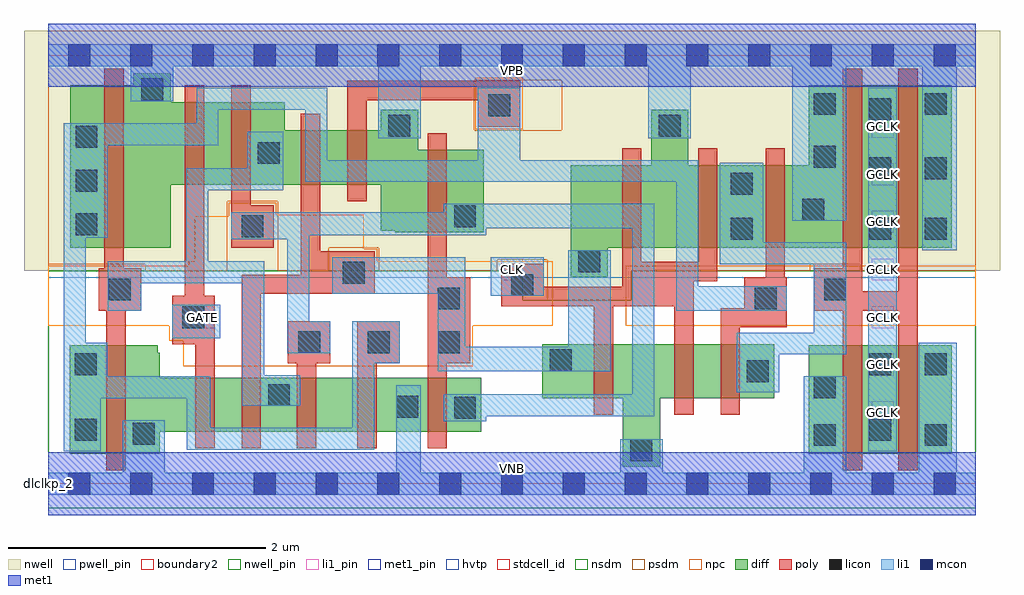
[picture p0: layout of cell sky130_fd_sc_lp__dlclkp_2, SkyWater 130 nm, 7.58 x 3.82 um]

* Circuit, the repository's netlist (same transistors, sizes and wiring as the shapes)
* Copyright 2020 The SkyWater PDK Authors
*
* Licensed under the Apache License, Version 2.0 (the "License");
* you may not use this file except in compliance with the License.
* You may obtain a copy of the License at
*
*     https://www.apache.org/licenses/LICENSE-2.0
*
* Unless required by applicable law or agreed to in writing, software
* distributed under the License is distributed on an "AS IS" BASIS,
* WITHOUT WARRANTIES OR CONDITIONS OF ANY KIND, either express or implied.
* See the License for the specific language governing permissions and
* limitations under the License.
*
* SPDX-License-Identifier: Apache-2.0

.SUBCKT sky130_fd_sc_lp__dlclkp_2 CLK GATE VGND VNB VPB VPWR GCLK
*.PININFO CLK:I GATE:I VGND:I VNB:I VPB:I VPWR:I GCLK:O
MI662 net75 m1 VPWR VPB sky130_fd_pr__pfet_01v8_hvt m=1 w=0.42U l=0.15U mult=1
+ sa=0.265 sb=0.265 sd=0.28 area=0.063 perim=1.14
MI664 M0 clkpos net75 VPB sky130_fd_pr__pfet_01v8_hvt m=1 w=0.42U l=0.15U mult=1
+ sa=0.265 sb=0.265 sd=0.28 area=0.063 perim=1.14
MI659 net63 CLK VPWR VPB sky130_fd_pr__pfet_01v8_hvt m=1 w=0.64U l=0.15U mult=1
+ sa=0.265 sb=0.265 sd=0.28 area=0.063 perim=1.14
MI658 net63 m1 VPWR VPB sky130_fd_pr__pfet_01v8_hvt m=1 w=0.64U l=0.15U mult=1
+ sa=0.265 sb=0.265 sd=0.28 area=0.063 perim=1.14
MI19 m1 M0 VPWR VPB sky130_fd_pr__pfet_01v8_hvt m=1 w=1.26U l=0.15U mult=1 sa=0.265
+ sb=0.265 sd=0.28 area=0.063 perim=1.14
MI38 M0 clkneg net54 VPB sky130_fd_pr__pfet_01v8_hvt m=1 w=0.64U l=0.15U mult=1
+ sa=0.265 sb=0.265 sd=0.28 area=0.063 perim=1.14
MI37 net54 GATE VPWR VPB sky130_fd_pr__pfet_01v8_hvt m=1 w=0.64U l=0.15U mult=1
+ sa=0.265 sb=0.265 sd=0.28 area=0.063 perim=1.14
MI47 clkneg clkpos VPWR VPB sky130_fd_pr__pfet_01v8_hvt m=1 w=0.64U l=0.15U mult=1
+ sa=0.265 sb=0.265 sd=0.28 area=0.063 perim=1.14
MI45 clkpos CLK VPWR VPB sky130_fd_pr__pfet_01v8_hvt m=1 w=0.64U l=0.15U mult=1
+ sa=0.265 sb=0.265 sd=0.28 area=0.063 perim=1.14
MI660 GCLK net63 VPWR VPB sky130_fd_pr__pfet_01v8_hvt m=2 w=1.26U l=0.15U mult=1
+ sa=0.265 sb=0.265 sd=0.28 area=0.063 perim=1.14
MI20 m1 M0 VGND VNB sky130_fd_pr__nfet_01v8 m=1 w=0.84U l=0.15U mult=1 sa=0.265
+ sb=0.265 sd=0.28 area=0.063 perim=1.14
MI655 M0 clkneg net110 VNB sky130_fd_pr__nfet_01v8 m=1 w=0.42U l=0.15U mult=1 sa=0.265
+ sb=0.265 sd=0.28 area=0.063 perim=1.14
MI654 net110 m1 VGND VNB sky130_fd_pr__nfet_01v8 m=1 w=0.42U l=0.15U mult=1 sa=0.265
+ sb=0.265 sd=0.28 area=0.063 perim=1.14
MI34 M0 clkpos net91 VNB sky130_fd_pr__nfet_01v8 m=1 w=0.42U l=0.15U mult=1 sa=0.265
+ sb=0.265 sd=0.28 area=0.063 perim=1.14
MI657 net99 CLK VGND VNB sky130_fd_pr__nfet_01v8 m=1 w=0.42U l=0.15U mult=1 sa=0.265
+ sb=0.265 sd=0.28 area=0.063 perim=1.14
MI656 net63 m1 net99 VNB sky130_fd_pr__nfet_01v8 m=1 w=0.42U l=0.15U mult=1 sa=0.265
+ sb=0.265 sd=0.28 area=0.063 perim=1.14
MI36 net91 GATE VGND VNB sky130_fd_pr__nfet_01v8 m=1 w=0.42U l=0.15U mult=1 sa=0.265
+ sb=0.265 sd=0.28 area=0.063 perim=1.14
MI46 clkneg clkpos VGND VNB sky130_fd_pr__nfet_01v8 m=1 w=0.42U l=0.15U mult=1
+ sa=0.265 sb=0.265 sd=0.28 area=0.063 perim=1.14
MI44 clkpos CLK VGND VNB sky130_fd_pr__nfet_01v8 m=1 w=0.42U l=0.15U mult=1 sa=0.265
+ sb=0.265 sd=0.28 area=0.063 perim=1.14
MI653 GCLK net63 VGND VNB sky130_fd_pr__nfet_01v8 m=2 w=0.84U l=0.15U mult=1 sa=0.265
+ sb=0.265 sd=0.28 area=0.063 perim=1.14
.ENDS sky130_fd_sc_lp__dlclkp_2

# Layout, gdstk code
import gdstk
lib = gdstk.Library(unit=1e-6, precision=1e-09)
def R(c, l, rs):  # rectangles x0, y0, x1, y1
    for r in rs: c.add(gdstk.rectangle(r[:2], r[2:], *l))
def A(c, l, x, y, w, h, nx, ny, dx, dy):  # array of equal rectangles
    R(c, l, [(x+i*dx, y+j*dy, x+i*dx+w, y+j*dy+h) for i in range(nx) for j in range(ny)])
def P(c, l, *ps):  # polygons
    for p in ps: c.add(gdstk.Polygon(p, *l))
nwell_pin = (64, 16)
nwell = (64, 20)
diff = (65, 20)
poly = (66, 20)
licon = (66, 44)
li1_pin = (67, 16)
li1 = (67, 20)
mcon = (67, 44)
met1_pin = (68, 16)
met1 = (68, 20)
hvtp = (78, 44)
stdcell_id = (81, 4)
nsdm = (93, 44)
psdm = (94, 20)
npc = (95, 20)
pwell_pin = (122, 16)
boundary2 = (236, 0)

sky130_fd_sc_lp__dlclkp_ = lib.new_cell('sky130_fd_sc_lp__dlclkp_2')
R(sky130_fd_sc_lp__dlclkp_, nwell_pin, [(0,3.085,7.2,3.33)])
P(sky130_fd_sc_lp__dlclkp_, nwell, [(7.39,3.52),(-0.19,3.52),(-0.19,1.655),(3.685,1.655),(3.685,1.425),(4.525,1.425),(4.525,1.655),(7.39,1.655)])
R(sky130_fd_sc_lp__dlclkp_, diff, [(5.905,0.235,7.015,1.075)])
P(sky130_fd_sc_lp__dlclkp_, diff, [(3.36,0.825),(0.865,0.825),(0.865,1.02),(0.85,1.02),(0.85,1.075),(0.165,1.075),(0.165,0.235),(0.865,0.235),(0.865,0.405),(3.36,0.405)],
  [(3.38,2.595),(2.87,2.595),(2.87,2.905),(2.58,2.905),(2.58,2.745),(1.835,2.745),(1.835,2.965),(0.95,2.965),(0.95,3.19),(0.66,3.19),(0.66,3.095),(0.17,3.095),(0.17,1.835),(0.95,1.835),(0.95,2.325),(2.58,2.325),(2.58,1.965),(2.695,1.965),(2.695,1.955),(3.38,1.955)],
  [(5.635,1.085),(3.835,1.085),(3.835,0.665),(4.46,0.665),(4.46,0.135),(4.75,0.135),(4.75,0.665),(5.635,0.665)],
  [(7.015,3.095),(5.905,3.095),(5.905,2.475),(4.97,2.475),(4.97,2.905),(4.68,2.905),(4.68,2.475),(4.055,2.475),(4.055,1.605),(4.345,1.605),(4.345,1.835),(7.015,1.835)])
P(sky130_fd_sc_lp__dlclkp_, poly, [(0.72,1.675),(0.585,1.675),(0.585,3.225),(0.435,3.225),(0.435,1.675),(0.39,1.675),(0.39,1.345),(0.45,1.345),(0.45,0.105),(0.6,0.105),(0.6,1.345),(0.72,1.345)],
  [(1.29,1.46),(1.21,1.46),(1.21,3.095),(1.06,3.095),(1.06,1.46),(0.96,1.46),(0.96,1.085),(1.14,1.085),(1.14,0.275),(1.29,0.275)],
  [(1.75,2.165),(1.57,2.165),(1.57,3.095),(1.42,3.095),(1.42,1.835),(1.75,1.835)],
  [(2.19,1.265),(1.86,1.265),(1.86,0.935),(1.93,0.935),(1.93,0.275),(2.08,0.275),(2.08,0.935),(2.19,0.935)],
  [(2.535,1.805),(2.11,1.805),(2.11,2.875),(1.96,2.875),(1.96,1.625),(1.5,1.625),(1.5,0.275),(1.65,0.275),(1.65,1.475),(2.535,1.475)],
  [(2.73,1.265),(2.4,1.265),(2.4,0.275),(2.55,0.275),(2.55,0.935),(2.73,0.935)],
  [(3.275,1.605),(3.095,1.605),(3.095,2.725),(2.945,2.725),(2.945,0.275),(3.095,0.275),(3.095,0.935),(3.275,0.935)],
  [(3.665,3.13),(2.32,3.13),(2.32,2.195),(2.47,2.195),(2.47,2.98),(3.335,2.98),(3.335,2.775),(3.665,2.775)],
  [(5.195,2.605),(5.045,2.605),(5.045,1.725),(4.605,1.725),(4.605,2.605),(4.455,2.605),(4.455,1.53),(3.845,1.53),(3.845,1.71),(3.515,1.71),(3.515,1.38),(4.235,1.38),(4.235,0.535),(4.385,0.535),(4.385,1.38),(4.86,1.38),(4.86,0.535),(5.01,0.535),(5.01,1.575),(5.195,1.575)],
  [(5.735,1.605),(5.72,1.605),(5.72,2.605),(5.57,2.605),(5.57,1.605),(5.405,1.605),(5.405,1.365),(5.22,1.365),(5.22,0.535),(5.37,0.535),(5.37,1.215),(5.735,1.215)],
  [(6.75,3.225),(6.6,3.225),(6.6,1.495),(6.32,1.495),(6.32,3.225),(6.17,3.225),(6.17,1.675),(5.945,1.675),(5.945,1.345),(6.17,1.345),(6.17,0.105),(6.32,0.105),(6.32,1.345),(6.6,1.345),(6.6,0.105),(6.75,0.105)])
A(sky130_fd_sc_lp__dlclkp_, licon, 0.21, 1.93, 0.17, 0.17, 1, 3, 0, 0.34)
R(sky130_fd_sc_lp__dlclkp_, licon, [(4.52,0.175,4.69,0.345), (5.945,0.295,6.115,0.465), (6.805,0.295,6.975,0.465), (0.655,0.305,0.825,0.475), (0.205,0.335,0.375,0.505), (6.375,0.335,6.545,0.505), (3.15,0.505,3.32,0.675), (2.7,0.515,2.87,0.685), (1.705,0.605,1.875,0.775), (5.945,0.665,6.115,0.835), (5.425,0.79,5.595,0.96), (0.205,0.845,0.375,1.015), (6.375,0.845,6.545,1.015), (6.805,0.845,6.975,1.015), (3.895,0.875,4.065,1.045), (1.94,1.015,2.11,1.185), (2.48,1.015,2.65,1.185), (3.025,1.015,3.195,1.185), (1.04,1.21,1.21,1.38), (3.025,1.355,3.195,1.525), (5.485,1.355,5.655,1.525), (0.47,1.425,0.64,1.595), (6.025,1.425,6.195,1.595), (3.595,1.46,3.765,1.63), (2.285,1.555,2.455,1.725), (4.115,1.645,4.285,1.815), (5.3,1.895,5.47,2.065), (6.375,1.895,6.545,2.065), (6.805,1.895,6.975,2.065), (1.5,1.915,1.67,2.085), (3.15,1.995,3.32,2.165), (5.855,2.045,6.025,2.215), (5.3,2.245,5.47,2.415), (6.375,2.365,6.545,2.535), (6.805,2.365,6.975,2.535), (5.945,2.455,6.115,2.625), (1.625,2.485,1.795,2.655), (2.64,2.695,2.81,2.865), (4.74,2.695,4.91,2.865), (6.375,2.825,6.545,2.995), (3.415,2.855,3.585,3.025), (5.945,2.865,6.115,3.035), (6.805,2.865,6.975,3.035), (0.72,2.98,0.89,3.15)])
A(sky130_fd_sc_lp__dlclkp_, li1_pin, 6.395, 0.47, 0.17, 0.17, 1, 7, 0, 0.37)
R(sky130_fd_sc_lp__dlclkp_, li1_pin, [(1.115,1.21,1.285,1.38), (3.515,1.58,3.685,1.75)])
R(sky130_fd_sc_lp__dlclkp_, li1, [(6.365,0.255,6.59,3.075), (0.96,1.13,1.335,1.39), (3.435,1.46,3.845,1.76)])
P(sky130_fd_sc_lp__dlclkp_, li1, [(1.855,1.9),(1.42,1.9),(1.42,2.11),(3.07,2.11),(3.07,2.175),(4.705,2.175),(4.705,0.525),(3.4,0.525),(3.4,0.485),(3.07,0.485),(3.07,0.695),(4.535,0.695),(4.535,1.985),(3.4,1.985),(3.4,1.93),(2.025,1.93),(2.025,1.265),(2.19,1.265),(2.19,1.015),(1.855,1.015)],
  [(3.335,2.515),(3.335,3.075),(3.665,3.075),(3.665,2.515),(5.045,2.515),(5.045,1.535),(5.735,1.535),(5.735,1.345),(4.875,1.345),(4.875,2.345),(1.995,2.345),(1.995,2.905),(1.32,2.905),(1.32,2.63),(0.46,2.63),(0.46,1.91),(0.29,1.91),(0.29,1.095),(0.455,1.095),(0.455,0.835),(1.255,0.835),(1.255,0.435),(2.36,0.435),(2.36,1.265),(2.73,1.265),(2.73,0.935),(2.53,0.935),(2.53,0.265),(1.075,0.265),(1.075,0.665),(0.405,0.665),(0.405,0.255),(0.12,0.255),(0.12,2.8),(1.15,2.8),(1.15,3.075),(2.165,3.075),(2.165,2.515)],
  [(2.56,2.685),(2.56,3.245),(0.97,3.245),(0.97,2.97),(0.64,2.97),(0.64,3.245),(0,3.245),(0,3.415),(7.2,3.415),(7.2,3.245),(7.055,3.245),(7.055,1.815),(6.785,1.815),(6.785,3.245),(6.195,3.245),(6.195,2.045),(5.775,2.045),(5.775,3.245),(4.99,3.245),(4.99,2.685),(4.66,2.685),(4.66,3.245),(2.89,3.245),(2.89,2.685)],
  [(4.44,0.085),(4.44,0.345),(4.77,0.345),(4.77,0.085),(5.865,0.085),(5.865,0.835),(6.195,0.835),(6.195,0.085),(6.76,0.085),(6.76,1.095),(7.055,1.095),(7.055,0.085),(7.2,0.085),(7.2,-0.085),(0,-0.085),(0,0.085),(0.575,0.085),(0.575,0.495),(0.905,0.495),(0.905,0.085),(2.7,0.085),(2.7,0.765),(2.89,0.765),(2.89,0.085)],
  [(5.55,1.875),(6.195,1.875),(6.195,1.005),(5.675,1.005),(5.675,0.71),(5.345,0.71),(5.345,1.175),(5.945,1.175),(5.945,1.705),(5.215,1.705),(5.215,2.495),(5.55,2.495)],
  [(4.035,1.065),(4.035,1.815),(4.365,1.815),(4.365,0.875),(3.025,0.875),(3.025,1.475),(2.205,1.475),(2.205,1.76),(3.235,1.76),(3.235,1.065)],
  [(1.07,2.45),(1.545,2.45),(1.545,2.735),(1.825,2.735),(1.825,2.28),(1.24,2.28),(1.24,1.73),(1.675,1.73),(1.675,0.845),(1.955,0.845),(1.955,0.605),(1.505,0.605),(1.505,1.56),(0.72,1.56),(0.72,1.345),(0.46,1.345),(0.46,1.73),(1.07,1.73)])
A(sky130_fd_sc_lp__dlclkp_, mcon, 0.155, -0.085, 0.17, 0.17, 15, 2, 0.48, 3.33)
R(sky130_fd_sc_lp__dlclkp_, met1_pin, [(0,0,7.2,0.245), (0,3.085,7.2,3.33)])
R(sky130_fd_sc_lp__dlclkp_, met1, [(0,-0.245,7.2,0.245), (0,3.085,7.2,3.575)])
R(sky130_fd_sc_lp__dlclkp_, hvtp, [(0,1.6,7.2,3.33)])
R(sky130_fd_sc_lp__dlclkp_, stdcell_id, [(0,0,7.2,3.33)])
P(sky130_fd_sc_lp__dlclkp_, nsdm, [(7.2,1.655),(4.525,1.655),(4.525,1.425),(3.685,1.425),(3.685,1.655),(0,1.655),(0,-0.19),(7.2,-0.19)])
P(sky130_fd_sc_lp__dlclkp_, psdm, [(7.2,3.52),(3.985,3.52),(3.985,2.745),(3.305,2.745),(3.305,3.135),(3.985,3.135),(3.985,3.52),(0,3.52),(0,1.705),(0.75,1.705),(0.75,1.655),(1.39,1.655),(1.39,2.195),(1.78,2.195),(1.78,1.655),(2.175,1.655),(2.175,1.835),(2.565,1.835),(2.565,1.655),(3.485,1.655),(3.485,1.74),(3.875,1.74),(3.875,1.425),(4.525,1.425),(4.525,1.655),(5.915,1.655),(5.915,1.705),(6.305,1.705),(6.305,1.655),(7.2,1.655)])
R(sky130_fd_sc_lp__dlclkp_, npc, [(4.485,1.23,7.2,1.695), (3.315,2.755,3.685,3.155)])
P(sky130_fd_sc_lp__dlclkp_, npc, [(3.915,1.73),(2.555,1.73),(2.555,1.825),(2.45,1.825),(2.45,2.09),(1.77,2.09),(1.77,2.185),(1.4,2.185),(1.4,2.08),(1.135,2.08),(1.135,1.73),(1.09,1.73),(1.09,1.695),(0,1.695),(0,1.23),(0.94,1.23),(0.94,1.11),(1.045,1.11),(1.045,0.915),(3.295,0.915),(3.295,1.23),(3.915,1.23)])
R(sky130_fd_sc_lp__dlclkp_, pwell_pin, [(0,0,7.2,0.245)])
R(sky130_fd_sc_lp__dlclkp_, boundary2, [(0,0,7.2,3.33)])
sky130_fd_sc_lp__dlclkp_.add(gdstk.Label('VNB', (3.6,0.123), layer=64, texttype=59))
sky130_fd_sc_lp__dlclkp_.add(gdstk.Label('VPB', (3.6,3.208), layer=64, texttype=5))
sky130_fd_sc_lp__dlclkp_.add(gdstk.Label('dlclkp_2', (0,0), layer=83, texttype=44))
sky130_fd_sc_lp__dlclkp_.add(gdstk.Label('VPWR', (3.6,3.208), layer=68, texttype=5))
sky130_fd_sc_lp__dlclkp_.add(gdstk.Label('VGND', (3.6,0.123), layer=68, texttype=5))
sky130_fd_sc_lp__dlclkp_.add(gdstk.Label('CLK', (3.6,1.665), layer=67, texttype=5))
sky130_fd_sc_lp__dlclkp_.add(gdstk.Label('GATE', (1.2,1.295), layer=67, texttype=5))
sky130_fd_sc_lp__dlclkp_.add(gdstk.Label('GCLK', (6.48,0.555), layer=67, texttype=5))
sky130_fd_sc_lp__dlclkp_.add(gdstk.Label('GCLK', (6.48,0.925), layer=67, texttype=5))
sky130_fd_sc_lp__dlclkp_.add(gdstk.Label('GCLK', (6.48,1.295), layer=67, texttype=5))
sky130_fd_sc_lp__dlclkp_.add(gdstk.Label('GCLK', (6.48,1.665), layer=67, texttype=5))
sky130_fd_sc_lp__dlclkp_.add(gdstk.Label('GCLK', (6.48,2.035), layer=67, texttype=5))
sky130_fd_sc_lp__dlclkp_.add(gdstk.Label('GCLK', (6.48,2.405), layer=67, texttype=5))
sky130_fd_sc_lp__dlclkp_.add(gdstk.Label('GCLK', (6.48,2.775), layer=67, texttype=5))

lib.write_gds('sky130_fd_sc_lp__dlclkp_2.gds')
